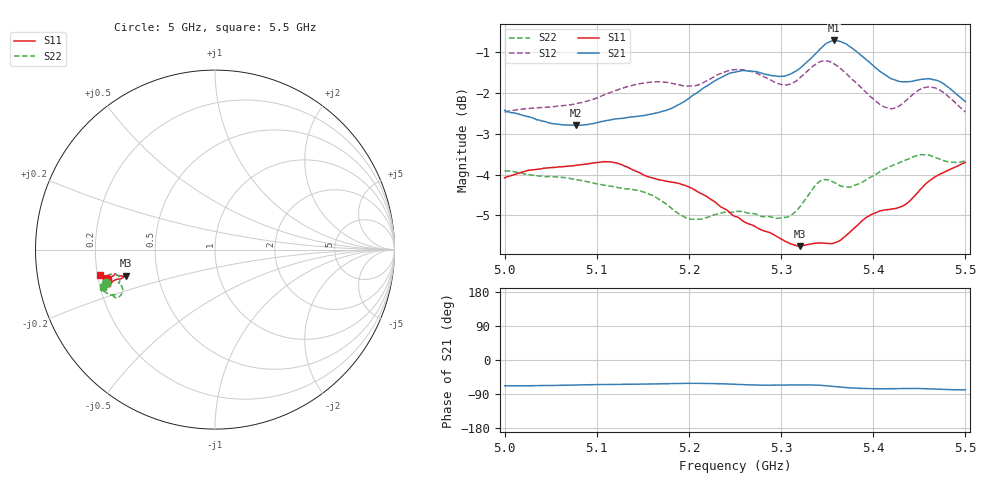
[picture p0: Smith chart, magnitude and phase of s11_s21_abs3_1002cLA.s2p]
! MS46122B
! 1919307/90821646
! 5/25/2022 1:06:35 PM
! C:\USERS\PC_\DESKTOP\CARACTERIZACION\MEDICIONES\BANCHA ESTRECHA\5_55GHZ\S11_S21_ABS3_1002CL.S2P
! CHANNEL.1
! TR.MEASUREMENT
! CORRECTED.DATA
# GHZ S RI R 50.0
! FREQ.GHZ  S11RE  S11IM  S21RE  S21IM  S12RE  S12IM  S22RE  S22IM
!; PortSelection: Port_12
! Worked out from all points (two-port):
!   201 points, 5 GHz to 5.5 GHz, reference 50 ohm
!   highest |S21| = -0.71 dB at 5.357 GHz (marker M1); lowest = -2.8 dB at 5.077 GHz (marker M2)
!   |S21| within 3 dB of the highest: start of sweep to end of sweep
!   lowest |S11| = -5.8 dB at 5.32 GHz (marker M3), VSWR 3.13, Z = 16.3 - j6.4 ohm
!   |S11| at or under -10 dB: nowhere
!   |S22| runs from -5.1 to -3.5 dB; largest |S21 - S12| = 0.081
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5  -0.6038 -0.1614  0.2854 -0.7006  0.34 -0.6714  -0.6092 -0.1887
5.04  -0.6147 -0.1827  0.2786 -0.679  0.3462 -0.6793  -0.6018 -0.1811
5.0775  -0.6188 -0.1914  0.2965 -0.6617  0.3541 -0.6847  -0.5995 -0.166
5.085  -0.6193 -0.1939  0.3002 -0.6608  0.3563 -0.6868  -0.5988 -0.1604
5.12  -0.6203 -0.2023  0.3186 -0.666  0.367 -0.7104  -0.5919 -0.1442
5.1675  -0.5866 -0.2061  0.3416 -0.6699  0.3489 -0.7422  -0.5723 -0.1365
5.21  -0.5728 -0.1808  0.3785 -0.7009  0.3432 -0.7365  -0.5312 -0.1646
5.23  -0.5566 -0.1693  0.382 -0.7308  0.3518 -0.7576  -0.5339 -0.1823
5.25  -0.5358 -0.1642  0.3675 -0.758  0.3326 -0.7804  -0.5373 -0.1845
5.2875  -0.5125 -0.1561  0.3324 -0.7666  0.2898 -0.7725  -0.5248 -0.1963
5.305  -0.5011 -0.1468  0.339 -0.7618  0.296 -0.7566  -0.5155 -0.2168
5.32  -0.4948 -0.1444  0.3509 -0.7752  0.313 -0.7668  -0.52 -0.246
5.335  -0.4994 -0.1424  0.3588 -0.8055  0.3128 -0.7985  -0.5454 -0.2675
5.345  -0.5014 -0.1376  0.3516 -0.8339  0.2938 -0.8182  -0.5632 -0.263
5.3575  -0.5014 -0.138  0.3164 -0.8654  0.2565 -0.8237  -0.5656 -0.2468
5.37  -0.5099 -0.1458  0.2722 -0.8719  0.2263 -0.81  -0.5578 -0.2452
5.39  -0.5369 -0.1457  0.2255 -0.8479  0.2052 -0.7733  -0.5643 -0.2545
5.4175  -0.5559 -0.1339  0.2025 -0.8045  0.2238 -0.7267  -0.5957 -0.2464
5.43  -0.5592 -0.1382  0.2065 -0.7937  0.2465 -0.7276  -0.6086 -0.239
5.4475  -0.5788 -0.1514  0.2106 -0.7961  0.2577 -0.7554  -0.6261 -0.2266
5.47  -0.6124 -0.1466  0.1821 -0.802  0.218 -0.7736  -0.6283 -0.2034
5.5  -0.6381 -0.1396  0.1524 -0.7598  0.1871 -0.7292  -0.6221 -0.2089
